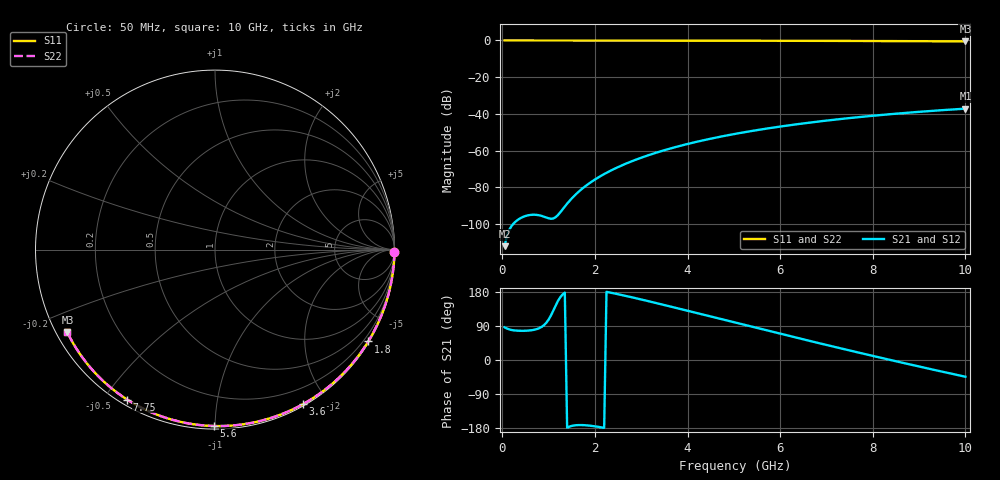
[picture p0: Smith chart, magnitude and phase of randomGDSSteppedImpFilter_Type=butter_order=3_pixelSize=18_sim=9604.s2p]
! freq	dB(S11)	phase(S11)	dB(S12)	phase(S12)
!  dB(S21)	phase(S21)	dB(S22)	phase(S22)
!S-par simulation data
#  GHz  S  DB  R 50
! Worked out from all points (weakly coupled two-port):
!   200 points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, 50 MHz to 10 GHz, reference 50 ohm
!   highest |S21| = -37.17 dB at 10 GHz (marker M1); lowest = -112.1 dB at 50 MHz (marker M2)
!   lowest |S11| = -0.5 dB at 10 GHz (marker M3), VSWR 34.07, Z = 1.57 - j13.1 ohm
!   |S11| at or under -10 dB: nowhere
!   |S22| runs from -0.5 to 0.0 dB; largest |S21 - S12| = 0
!   S11 on the Smith chart (normalised r, x): 50 MHz: open; 1.8 GHz: 0.03, -3.61; 3.6 GHz: 0.02, -1.72; 5.6 GHz: 0.02, -0.99; 7.75 GHz: 0.02, -0.57; 10 GHz: 0.03, -0.26
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0.05  -0.00 -0.9  -112.14 86.2  -112.14 86.2  -0.00 -0.9
0.45  -0.01 -7.9  -96.17 77.0  -96.17 77.0  -0.01 -7.9
0.9  -0.02 -15.6  -96.06 92.0  -96.06 92.0  -0.02 -15.6
1.3  -0.03 -22.5  -92.13 172.5  -92.13 172.5  -0.03 -22.5
1.75  -0.04 -30.1  -80.30 -171.9  -80.30 -171.9  -0.04 -30.1
1.8  -0.04 -30.9  -79.31 -172.3  -79.31 -172.3  -0.04 -30.9
1.95  -0.04 -33.4  -76.63 -174.2  -76.63 -174.2  -0.04 -33.4
2.1  -0.05 -35.9  -74.27 -176.9  -74.27 -176.9  -0.05 -35.9
2.3  -0.05 -39.3  -71.48 178.6  -71.48 178.6  -0.05 -39.3
2.5  -0.05 -42.6  -69.03 173.6  -69.03 173.6  -0.05 -42.6
2.9  -0.06 -49.1  -64.84 162.6  -64.84 162.6  -0.06 -49.1
3.4  -0.08 -57.1  -60.58 148.0  -60.58 148.0  -0.08 -57.1
3.6  -0.08 -60.3  -59.10 142.0  -59.10 142.0  -0.08 -60.3
4.3  -0.10 -71.1  -54.65 120.8  -54.65 120.8  -0.10 -71.1
5.05  -0.13 -82.4  -50.82 98.0  -50.82 98.0  -0.13 -82.4
5.6  -0.15 -90.4  -48.47 81.3  -48.47 81.3  -0.15 -90.4
6.15  -0.18 -98.3  -46.40 64.8  -46.40 64.8  -0.18 -98.3
6.7  -0.21 -106.0  -44.58 48.5  -44.58 48.5  -0.21 -106.0
7.75  -0.28 -120.4  -41.66 17.9  -41.66 17.9  -0.28 -120.4
8.35  -0.33 -128.5  -40.25 0.9  -40.25 0.9  -0.33 -128.5
9.2  -0.41 -139.9  -38.53 -22.7  -38.53 -22.7  -0.41 -139.9
10  -0.51 -150.7  -37.17 -44.2  -37.17 -44.2  -0.51 -150.7
